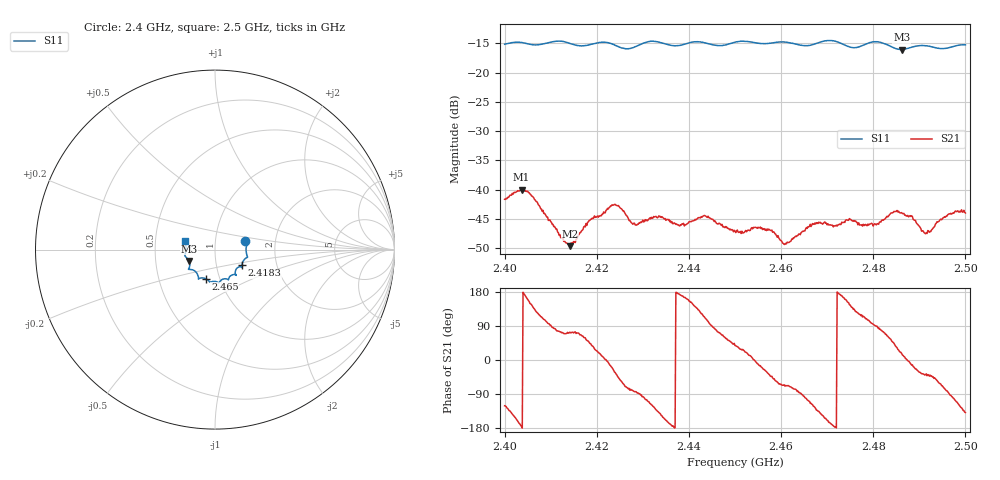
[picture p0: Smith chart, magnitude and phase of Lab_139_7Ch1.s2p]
# Hz S RI R 50
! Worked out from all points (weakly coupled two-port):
!   601 points, 2.4 GHz to 2.5 GHz, reference 50 ohm
!   highest |S21| = -40.00 dB at 2.4037 GHz (marker M1); lowest = -49.7 dB at 2.4142 GHz (marker M2)
!   lowest |S11| = -16.0 dB at 2.4862 GHz (marker M3), VSWR 1.37, Z = 37.1 - j4.83 ohm
!   |S11| at or under -10 dB: start of sweep to end of sweep
!   S12 and S22 are empty: the file has one direction only
!   S11 on the Smith chart (normalised r, x): 2.4 GHz: 1.40, +0.13; 2.4183 GHz: 1.33, -0.24; 2.465 GHz: 0.86, -0.29; 2.5 GHz: 0.71, +0.07
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2.4e9  0.1691 0.0456  -0.00424 -0.00711  0 0  0 0
2.403667e9  0.179 0.0291  -0.00997 -0.000838  0 0  0 0
2.405833e9  0.1735 0.0111  -0.00735 0.00492  0 0  0 0
2.414167e9  0.1715 -0.0479  0.000929 0.00315  0 0  0 0
2.416667e9  0.155 -0.0684  0.00187 0.00402  0 0  0 0
2.418333e9  0.1498 -0.0871  0.00374 0.00394  0 0  0 0
2.423833e9  0.1437 -0.0965  0.00636 -0.00392  0 0  0 0
2.428167e9  0.1133 -0.1206  0.000589 -0.00514  0 0  0 0
2.433333e9  0.1165 -0.1414  -0.00424 -0.00401  0 0  0 0
2.437833e9  0.0835 -0.149  -0.00492 0.000479  0 0  0 0
2.443667e9  0.0698 -0.1651  -0.0019 0.00562  0 0  0 0
2.45e9  0.0251 -0.1807  0.00348 0.00272  0 0  0 0
2.4575e9  -0.0141 -0.1777  0.0035 -0.00287  0 0  0 0
2.460833e9  -0.0302 -0.1804  0.00123 -0.00318  0 0  0 0
2.465e9  -0.0528 -0.162  -0.000453 -0.00442  0 0  0 0
2.466667e9  -0.0714 -0.1576  -0.00223 -0.00445  0 0  0 0
2.4805e9  -0.1479 -0.11  -1.54e-05 0.00506  0 0  0 0
2.483333e9  -0.1418 -0.0958  0.00299 0.00516  0 0  0 0
2.486167e9  -0.1445 -0.0635  0.00608 0.00188  0 0  0 0
2.491167e9  -0.1675 -0.0323  0.00327 -0.00271  0 0  0 0
2.496333e9  -0.1621 0.0204  0.000387 -0.00615  0 0  0 0
2.5e9  -0.1666 0.0474  -0.00474 -0.00417  0 0  0 0
